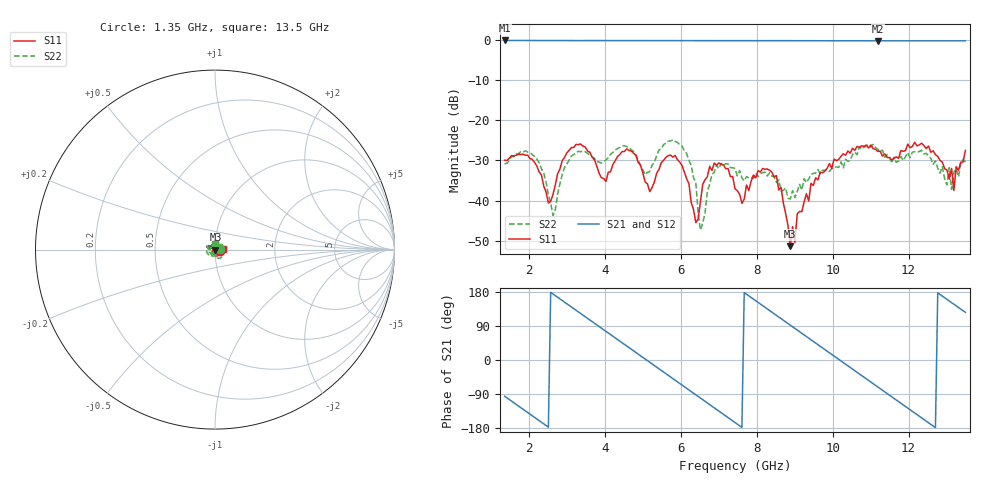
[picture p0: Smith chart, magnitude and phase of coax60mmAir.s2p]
!Agilent Technologies,N5230C,MY48100320,A.08.04.10
!Agilent N5230C: A.08.04.10
!Date: Thursday, August 04, 2016 04:11:31
!Correction: S11(Full 2 Port(1,2))
!S21(Full 2 Port(1,2))
!S12(Full 2 Port(1,2))
!S22(Full 2 Port(1,2))
!S2P File: Measurements: S11, S21, S12, S22:
# Hz S  dB  R 50
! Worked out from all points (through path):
!   201 points, 1.35 GHz to 13.5 GHz, reference 50 ohm
!   highest |S21| = -0.09 dB at 1.35 GHz (marker M1); lowest = -0.2 dB at 11.19 GHz (marker M2)
!   group delay of S21, straight-line fit = 196 ps
!   lowest |S11| = -51.4 dB at 8.883 GHz (marker M3), VSWR 1.01, Z = 50.3 - j0.0188 ohm
!   |S11| at or under -10 dB: start of sweep to end of sweep
!   |S22| runs from -47.4 to -24.9 dB; largest |S21 - S12| = 0.0045
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1.35027e9  -29.94 -16.5  -0.09 -95.6  -0.09 -95.6  -30.86 8.7
2.140002e9  -30.49 -87.7  -0.10 -151.4  -0.11 -151.4  -28.98 -24.2
2.625992e9  -38.51 -10.6  -0.10 174.2  -0.11 174.2  -43.75 -135.3
3.415724e9  -26.44 -6.2  -0.11 118.4  -0.12 118.5  -27.68 54.0
4.023211e9  -35.22 43.5  -0.11 75.5  -0.12 75.5  -29.86 -77.9
4.266205e9  -30.08 76.6  -0.11 58.3  -0.12 58.3  -27.39 -126.7
5.055938e9  -35.39 81.4  -0.12 2.6  -0.12 2.6  -33.58 85.8
5.42043e9  -32.28 157.0  -0.13 -23.3  -0.13 -23.2  -27.40 -9.3
6.149413e9  -34.53 148.0  -0.13 -74.8  -0.14 -74.7  -28.27 -88.1
6.392408e9  -45.52 -128.9  -0.13 -91.9  -0.13 -91.9  -35.50 -101.8
6.513905e9  -40.40 -84.6  -0.12 -100.5  -0.14 -100.4  -47.39 -106.3
6.939146e9  -31.18 -99.4  -0.14 -130.6  -0.14 -130.6  -31.17 35.0
7.425135e9  -37.10 -152.1  -0.14 -164.9  -0.14 -164.9  -32.01 19.4
8.518611e9  -33.81 9.4  -0.14 117.7  -0.16 117.8  -35.51 25.8
8.883103e9  -51.39 -4.0  -0.15 91.9  -0.16 92.0  -39.60 -50.1
9.490589e9  -36.25 41.3  -0.16 49.0  -0.17 49.1  -33.23 -128.2
1.028032e10  -28.36 15.6  -0.18 -6.8  -0.18 -6.8  -31.85 145.0
1.119155e10  -27.75 18.5  -0.20 -71.1  -0.19 -71.0  -27.22 5.1
1.149529e10  -29.30 47.8  -0.19 -92.6  -0.20 -92.5  -28.98 -55.4
1.252802e10  -26.41 84.7  -0.19 -165.6  -0.19 -165.5  -28.91 127.6
1.319626e10  -37.48 26.9  -0.19 147.1  -0.19 147.4  -32.99 101.8
1.35e10  -27.51 0.9  -0.19 125.8  -0.20 125.9  -30.40 92.4
